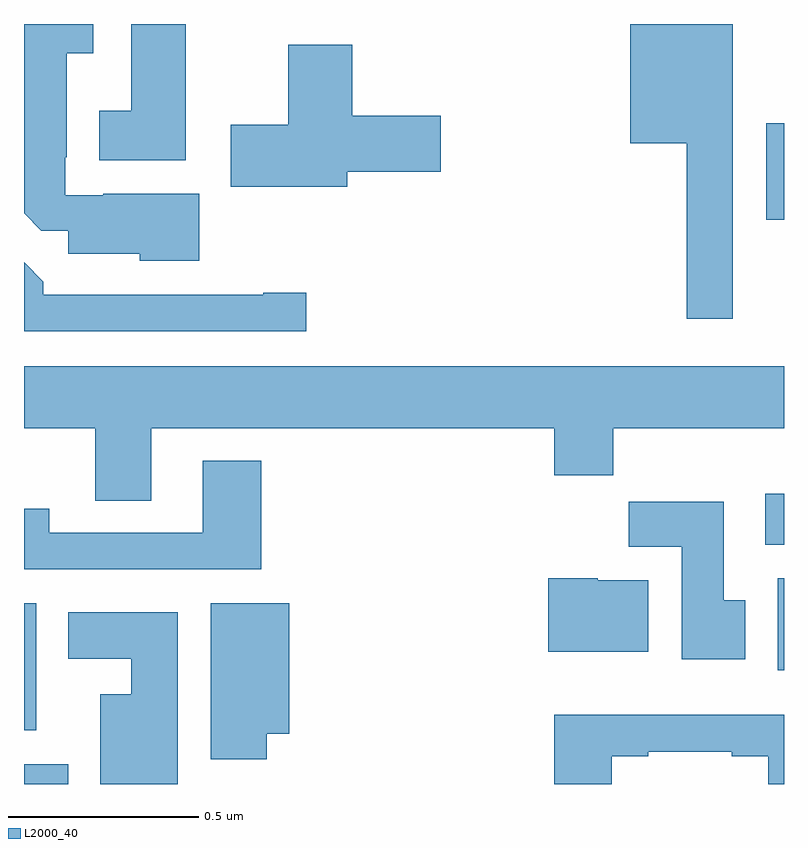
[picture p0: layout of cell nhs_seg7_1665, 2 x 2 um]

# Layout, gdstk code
import gdstk
lib = gdstk.Library(unit=1e-6, precision=1e-09)
def R(c, l, rs):  # rectangles x0, y0, x1, y1
    for r in rs: c.add(gdstk.rectangle(r[:2], r[2:], *l))
def P(c, l, *ps):  # polygons
    for p in ps: c.add(gdstk.Polygon(p, *l))
L2000_40 = (2000, 40)

nhs_seg7_1665 = lib.new_cell('nhs_seg7_1665')
R(nhs_seg7_1665, L2000_40, [(134,1013,134.116,1013.052), (134,1013.141,134.032,1013.476), (135.983,1013.3,136,1013.542), (135.951,1013.63,136,1013.764), (135.953,1014.485,136,1014.739)])
P(nhs_seg7_1665, L2000_40, [(135.865,1015),(135.596,1015),(135.596,1014.686),(135.744,1014.686),(135.744,1014.225),(135.865,1014.225)],
  [(134.461,1014.553),(134.209,1014.553),(134.209,1014.549),(134.109,1014.549),(134.109,1014.649),(134.113,1014.649),(134.113,1014.923),(134.182,1014.923),(134.182,1015),(134,1015),(134,1014.502),(134.046,1014.456),(134.117,1014.456),(134.117,1014.395),(134.304,1014.395),(134.304,1014.377),(134.461,1014.377)],
  [(134.425,1015),(134.282,1015),(134.282,1014.772),(134.198,1014.772),(134.198,1014.641),(134.425,1014.641)],
  [(134.851,1014.611),(135.097,1014.611),(135.097,1014.758),(134.864,1014.758),(134.864,1014.946),(134.696,1014.946),(134.696,1014.735),(134.544,1014.735),(134.544,1014.572),(134.851,1014.572)],
  [(134.743,1014.293),(134.63,1014.293),(134.63,1014.288),(134.051,1014.288),(134.051,1014.322),(134,1014.373),(134,1014.192),(134.743,1014.192)],
  [(134.335,1013.936),(135.395,1013.936),(135.395,1013.812),(135.551,1013.812),(135.551,1013.936),(136,1013.936),(136,1014.1),(134,1014.1),(134,1013.936),(134.188,1013.936),(134.188,1013.746),(134.335,1013.746)],
  [(134.624,1013.851),(134.471,1013.851),(134.471,1013.661),(134.067,1013.661),(134.067,1013.725),(134,1013.725),(134,1013.565),(134.624,1013.565)],
  [(135.898,1013.484),(135.841,1013.484),(135.841,1013.743),(135.592,1013.743),(135.592,1013.624),(135.731,1013.624),(135.731,1013.328),(135.898,1013.328)],
  [(135.643,1013.536),(135.51,1013.536),(135.51,1013.542),(135.38,1013.542),(135.38,1013.348),(135.643,1013.348)],
  [(134.639,1013.132),(134.698,1013.132),(134.698,1013.476),(134.492,1013.476),(134.492,1013.065),(134.639,1013.065)],
  [(134.404,1013.452),(134.117,1013.452),(134.117,1013.33),(134.282,1013.33),(134.282,1013.236),(134.201,1013.236),(134.201,1013),(134.404,1013)],
  [(135.547,1013.073),(135.643,1013.073),(135.643,1013.085),(135.863,1013.085),(135.863,1013.073),(135.959,1013.073),(135.959,1013),(136,1013),(136,1013.182),(135.395,1013.182),(135.395,1013),(135.547,1013)])

lib.write_gds('nhs_seg7_1665.gds')
